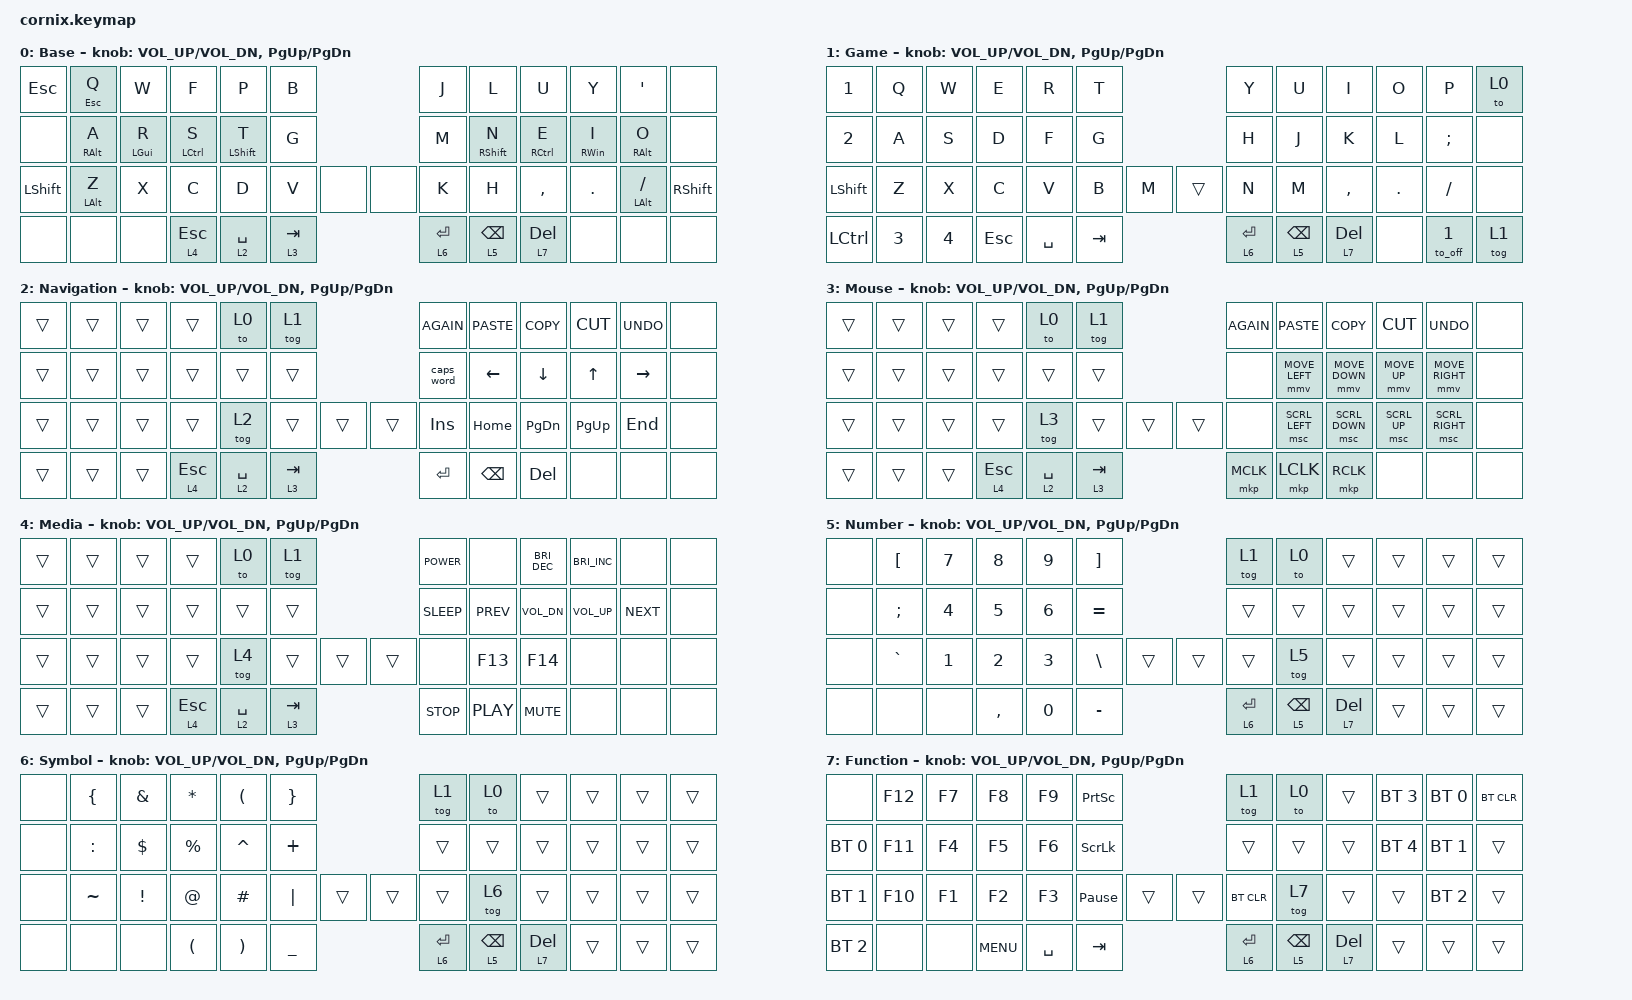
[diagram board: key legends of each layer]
/*
 * Copyright (c) 2020 The ZMK Contributors
 *
 * SPDX-License-Identifier: MIT
 */

#include "zmk-helpers/helper.h"
#include "includes/cornix54.h"

// tap windows for ctl alt and gui

#define HM_TAPPING_TERM 250
#define HM_TAPPING_REPEAT 210

// quick tapping for shift

#define HM_TAPPING_TERM_FAST 200
#define HM_PRIOR_IDLE 70
#define BASE 0
#define WIN 1
#define LOWER 2
#define RAISE 3
#define ADJUST 4
#define NAVI   5
#define NUM    6
#define DEBUG  7

// https://github.com/urob/zmk-config/tree/main#timeless-homerow-mods

#define KEYS_L LT0 LT1 LT2 LT3 LT4 LT5 LM0 LM1 LM2 LM3 LM4 LM5 LB0 LB1 LB2 LB3 LB4 LB5  // left hand
#define KEYS_R RT0 RT1 RT2 RT3 RT4 RT5 RM0 RM1 RM2 RM3 RM4 RM5 RB0 RB1 RB2 RB3 RB4 RB5  // right hand
#define THUMBS LH1 LH0 RH0 RH1
#define KEYS_T LH1 LH0 RH0 RH1
#define ZMK_POINTING_DEFAULT_SCRL_VAL 15

#include <behaviors.dtsi>
#include <dt-bindings/zmk/bt.h>
#include <dt-bindings/zmk/keys.h>
#include <dt-bindings/zmk/pointing.h>

/ {
    // Activate ADJUST layer by pressing raise and lower

    behaviors {
        hm_l: homerow_mods_left {
            compatible = "zmk,behavior-hold-tap";
            #binding-cells = <2>;
            bindings = <&kp>, <&kp>;

            flavor = "balanced";
            tapping-term-ms = <HM_TAPPING_TERM>;
            quick-tap-ms = <200>;                // repeat on tap-into-hold
            require-prior-idle-ms = <HM_PRIOR_IDLE>;
            hold-trigger-key-positions = <KEYS_R KEYS_T>;
            hold-trigger-on-release;
        };

        hm_r: homerow_mods_right {
            compatible = "zmk,behavior-hold-tap";
            #binding-cells = <2>;
            bindings = <&kp>, <&kp>;

            flavor = "balanced";
            tapping-term-ms = <HM_TAPPING_TERM>;
            quick-tap-ms = <200>;
            require-prior-idle-ms = <HM_PRIOR_IDLE>;
            hold-trigger-key-positions = <KEYS_L KEYS_T>;
            hold-trigger-on-release;
        };

        // Positional Homerow mods for shift
        // Use faster tapping term and disable some features that may
        // cause false negatives.

        hm_shift_l: hm_shift_l {
            compatible = "zmk,behavior-hold-tap";
            #binding-cells = <2>;
            bindings = <&kp>, <&kp>;

            //flavor = "balanced";

            flavor = "balanced";
            tapping-term-ms = <HM_TAPPING_TERM_FAST>;
            quick-tap-ms = <200>;
            require-prior-idle-ms = <HM_PRIOR_IDLE>;
            hold-trigger-key-positions = <KEYS_R KEYS_T>;
            hold-trigger-on-release;
        };

        hm_shift_r: hm_shift_r {
            compatible = "zmk,behavior-hold-tap";
            #binding-cells = <2>;
            bindings = <&kp>, <&kp>;

            flavor = "balanced";
            tapping-term-ms = <HM_TAPPING_TERM_FAST>;
            quick-tap-ms = <200>;
            require-prior-idle-ms = <HM_PRIOR_IDLE>;
            hold-trigger-key-positions = <KEYS_L KEYS_T>;

            // for quick tapping; shift+~

            hold-trigger-on-release;
        };

        /*
         * Non-Positional Homerow Mods
         * Used for &mm_grescm_gui behavior on left hand.
         *
         * Usage: &hm LSHFT T
         * Tap: T
         * Tap-Tap-Hold: Repeat T
         * Hold: LSHIFT
         */

        hm: homerow_mods {
            compatible = "zmk,behavior-hold-tap";
            #binding-cells = <2>;
            bindings = <&kp>, <&kp>;

            flavor = "balanced";
            tapping-term-ms = <HM_TAPPING_TERM>;
            quick-tap-ms = <200>;
        };

        lt: layer_tap {
            compatible = "zmk,behavior-hold-tap";
            #binding-cells = <2>;
            bindings = <&mo>, <&kp>;

            flavor = "hold-preferred";
            tapping-term-ms = <HM_TAPPING_TERM>;
            quick-tap-ms = <200>;
        };

        to_off: to_off {
            compatible = "zmk,behavior-toggle-layer";
            label = "TO_OFF";
            #binding-cells = <1>;
            toggle-mode = "off";
        };
    };

    conditional_layers { compatible = "zmk,conditional-layers"; };

    combos {
        compatible = "zmk,combos";

        cb_capsword {
            bindings = <&caps_word>;
            key-positions = <16 19>;
        };
    };

    keymap {
        compatible = "zmk,keymap";

        default_layer {
            display-name = "Base";

            // ------------------------------------------------------------------------------------------------------------
            // |   `   |  1  |  2  |  3   |  4   |  5   |                   |  6   |  7    |  8    |  9   |   0   |       |
            // |  ESC  |  Q  |  W  |  E   |  R   |  T   |                   |  Y   |  U    |  I    |  O   |   P   | BKSPC |
            // |  TAB  |  A  |  S  |  D   |  F   |  G   |                   |  H   |  J    |  K    |  L   |   ;   |   '   |
            // | SHIFT |  Z  |  X  |  C   |  V   |  B   |  MUTE  |  |       |  N   |  M    |  ,    |  .   |   /   | SHIFT |
            //               | GUI | ALT  | CTRL | LOWER|  ENTER |  | SPACE | RAISE| CTRL  | ALT   | GUI  |

            bindings = <
&kp ESC         &hm_l ESC Q        &kp W             &kp F                  &kp P                &kp B                    &kp J        &kp L                      &kp U                  &kp Y              &kp SINGLE_QUOTE      &none
&none           &hm_l RIGHT_ALT A  &hm_l LEFT_GUI R  &hm_l LEFT_CONTROL  S  &hm_shift_l LSHFT T  &kp G                    &kp M        &hm_shift_r RIGHT_SHIFT N  &hm_r RIGHT_CONTROL E  &hm_r RIGHT_WIN I  &hm_r RIGHT_ALT O     &none
&kp LEFT_SHIFT  &hm_l LEFT_ALT Z   &kp X             &kp C                  &kp D                &kp V      &none  &none  &kp K        &kp H                      &kp COMMA              &kp DOT            &hm_r LEFT_ALT SLASH  &kp RIGHT_SHIFT
&none           &none              &none             &lt 4 ESCAPE           &lt 2 SPACE          &lt 3 TAB                &lt 6 ENTER  &lt 5 BACKSPACE            &lt 7 DELETE           &none              &none                 &none
            >;

            sensor-bindings = <&inc_dec_kp C_VOL_UP C_VOL_DN &inc_dec_kp PG_UP PG_DN>;
        };

        game_layer {
            display-name = "Game";

            // ----------------------------------------------------------------------------------------------------------------------------
            // | BTCLR  |  BT1    |  BT2    |   BT3   |   BT4   |   BT5   |                  |      |      |       |      |       |       |
            // | EXTPWR | BTCLR | RGB_HUI | RGB_SAD | RGB_SAI | RGB_EFF |                  |      |      |       |      |       |       |
            // |        | RGB_BRD | RGB_BRI |         |         |         |                  |      |      |       |      |       |       |
            // |        |         |         |         |         |         | RGB_TOG | |      |      |      |       |      |       |       |
            //                    |         |         |         |         |         | |      |      |      |       |      |

            bindings = <
&kp N1            &kp Q   &kp W   &kp E       &kp R      &kp T                   &kp Y        &kp U            &kp I         &kp O       &kp P          &to 0
&kp N2            &kp A   &kp S   &kp D       &kp F      &kp G                   &kp H        &kp J            &kp K         &kp L       &kp SEMICOLON  &none
&kp LEFT_SHIFT    &kp Z   &kp X   &kp C       &kp V      &kp B    &kp M  &trans  &kp N        &kp M            &kp COMMA     &kp PERIOD  &kp SLASH      &none
&kp LEFT_CONTROL  &kp N3  &kp N4  &kp ESCAPE  &kp SPACE  &kp TAB                 &lt 6 ENTER  &lt 5 BACKSPACE  &lt 7 DELETE  &none       &to_off 1      &tog 1
            >;

            sensor-bindings =
                <&inc_dec_kp C_VOL_UP C_VOL_DN>,
                <&inc_dec_kp PG_UP PG_DN>;
        };

        nav_layer {
            display-name = "Navigation";

            // ------------------------------------------------------------------------------------------------------------
            // |   `   |  1  |  2  |  3   |  4   |  5   |                   |  6   |  7    |  8    |  9   |   0   |       |
            // |  ESC  |  Q  |  W  |  E   |  R   |  T   |                   |  Y   |  U    |  I    |  O   |   P   | BKSPC |
            // |  TAB  |  A  |  S  |  D   |  F   |  G   |                   |  H   |  J    |  K    |  L   |   ;   |   '   |
            // | SHIFT |  Z  |  X  |  C   |  V   |  B   |  MUTE  |  |       |  N   |  M    |  ,    |  .   |   /   | SHIFT |
            //               | GUI | ALT  | CTRL | LOWER|  ENTER |  | SPACE | RAISE| CTRL  | ALT   | GUI  |

            bindings = <
&trans  &trans  &trans  &trans     &to 0        &tog 1                     &kp K_AGAIN  &kp K_PASTE     &kp K_COPY  &kp K_CUT     &kp K_UNDO       &none
&trans  &trans  &trans  &trans     &trans       &trans                     &caps_word   &kp LEFT_ARROW  &kp DOWN    &kp UP_ARROW  &kp RIGHT_ARROW  &none
&trans  &trans  &trans  &trans     &tog 2       &trans     &trans  &trans  &kp INSERT   &kp HOME        &kp PG_DN   &kp PG_UP     &kp END          &none
&trans  &trans  &trans  &lt 4 ESC  &lt 2 SPACE  &lt 3 TAB                  &kp ENTER    &kp BACKSPACE   &kp DELETE  &none         &none            &none
            >;

            sensor-bindings = <&inc_dec_kp C_VOL_UP C_VOL_DN &inc_dec_kp PG_UP PG_DN>;
        };

        mouse_layer {
            display-name = "Mouse";

            // TODO: Some binds are waiting for shifted keycode support.
            // -------------------------------
            // |       |  F1 |  F2 |  F3  |  F4  |  F5  |                   |  F6  |  F7   |  F8   |  F9  |  F10  |  F11  |
            // |   `   |  1  |  2  |  3   |  4   |  5   |                   |  6   |  7    |  8    |  9   |   0   |  F12  |
            // |       |  !  |  @  |  #   |  $   |  %   |                   |  ^   |  &    |  *    |  (   |   )   |   |   |
            // |       |  =  |  -  |  +   |  {   |  }   |        |  |       |  [   |  ]    |  ;    |  :   |   \   |       |
            //               |     |      |      |      |        |  |       |      |       |       |      |

            bindings = <
&trans  &trans  &trans  &trans        &to 0        &tog 1                     &kp K_AGAIN  &kp K_PASTE     &kp K_COPY      &kp K_CUT     &kp K_UNDO       &none
&trans  &trans  &trans  &trans        &trans       &trans                     &none        &mmv MOVE_LEFT  &mmv MOVE_DOWN  &mmv MOVE_UP  &mmv MOVE_RIGHT  &none
&trans  &trans  &trans  &trans        &tog 3       &trans     &trans  &trans  &none        &msc SCRL_LEFT  &msc SCRL_DOWN  &msc SCRL_UP  &msc SCRL_RIGHT  &none
&trans  &trans  &trans  &lt 4 ESCAPE  &lt 2 SPACE  &lt 3 TAB                  &mkp MCLK    &mkp LCLK       &mkp RCLK       &none         &none            &none
            >;

            sensor-bindings = <&inc_dec_kp C_VOL_UP C_VOL_DN &inc_dec_kp PG_UP PG_DN>;
        };

        media_layer {
            display-name = "Media";

            // ------------------------------------------------------------------------------------------------------------
            // | BTCLR | BT1  | BT2  |  BT3  |  BT4  |  BT5 |                |      |      |       |      |       |       |
            // |       | INS  | PSCR | GUI   |       |      |                | PGUP |      |   ^   |      |       |       |
            // |       | ALT  | CTRL | SHIFT |       | CAPS |                | PGDN |   <- |   v   |  ->  |  DEL  | BKSPC |
            // |       | UNDO | CUT  | COPY  | PASTE |      |      |  |      |      |      |       |      |       |       |
            //                |      |       |       |      |      |  |      |      |      |       |      |

            bindings = <
&trans  &trans  &trans  &trans        &to 0        &tog 1                     &kp C_POWER  &none       &kp C_BRIGHTNESS_DEC  &kp C_BRIGHTNESS_INC  &none        &none
&trans  &trans  &trans  &trans        &trans       &trans                     &kp C_SLEEP  &kp C_PREV  &kp C_VOL_DN          &kp C_VOL_UP          &kp C_NEXT   &none
&trans  &trans  &trans  &trans        &tog 4       &trans     &trans  &trans  &none        &kp F13     &kp F14               &none                 &none        &none
&trans  &trans  &trans  &lt 4 ESCAPE  &lt 2 SPACE  &lt 3 TAB                  &kp C_STOP   &kp C_PLAY  &kp K_MUTE            &none                 &none        &none
            >;

            sensor-bindings = <&inc_dec_kp C_VOL_UP C_VOL_DN &inc_dec_kp PG_UP PG_DN>;
        };

        num_layer {
            display-name = "Number";

            // ----------------------------------------------------------------------------------------------------------------------------
            // | BTCLR  |  BT1    |  BT2    |   BT3   |   BT4   |   BT5   |                  |      |      |       |      |       |       |
            // | moDEBUG| RGB_HUD | RGB_HUI | RGB_SAD | RGB_SAI | RGB_EFF |                  |      |      |       |      |       |       |
            // | EXTPWR | RGB_BRD | RGB_BRI |         |         |         |                  |      |      |       |      |       |       |
            // |        |         |         |         |         |         | RGB_TOG | |      |      |      |       |      |       |       |
            //                    |         |         |         |         |         | |      |      |      |       |      |

            bindings = <
&none  &kp LEFT_BRACKET  &kp N7  &kp N8     &kp N9  &kp RIGHT_BRACKET                  &tog 1       &to 0            &trans        &trans  &trans  &trans
&none  &kp SEMICOLON     &kp N4  &kp N5     &kp N6  &kp EQUAL                          &trans       &trans           &trans        &trans  &trans  &trans
&none  &kp GRAVE         &kp N1  &kp N2     &kp N3  &kp BACKSLASH      &trans  &trans  &trans       &tog 5           &trans        &trans  &trans  &trans
&none  &none             &none   &kp COMMA  &kp N0  &kp MINUS                          &lt 6 ENTER  &lt 5 BACKSPACE  &lt 7 DELETE  &trans  &trans  &trans
            >;

            sensor-bindings =
                <&inc_dec_kp C_VOL_UP C_VOL_DN>,
                <&inc_dec_kp PG_UP PG_DN>;
        };

        sym_layer {
            display-name = "Symbol";
            bindings = <
&none  &kp LEFT_BRACE  &kp AMPERSAND    &kp ASTERISK          &kp LEFT_PARENTHESIS   &kp RIGHT_BRACE                  &tog 1       &to 0            &trans        &trans  &trans  &trans
&none  &kp COLON       &kp DOLLAR       &kp PERCENT           &kp CARET              &kp PLUS                         &trans       &trans           &trans        &trans  &trans  &trans
&none  &kp TILDE       &kp EXCLAMATION  &kp AT_SIGN           &kp HASH               &kp PIPE         &trans  &trans  &trans       &tog 6           &trans        &trans  &trans  &trans
&none  &none           &none            &kp LEFT_PARENTHESIS  &kp RIGHT_PARENTHESIS  &kp UNDERSCORE                   &lt 6 ENTER  &lt 5 BACKSPACE  &lt 7 DELETE  &trans  &trans  &trans
            >;

            sensor-bindings =
                <&inc_dec_kp C_VOL_UP C_VOL_DN>,
                <&inc_dec_kp PG_UP PG_DN>;
        };

        fun_layer {
            display-name = "Function";
            bindings = <
&none         &kp F12  &kp F7  &kp F8      &kp F9     &kp PRINTSCREEN                  &tog 1       &to 0            &trans        &bt BT_SEL 3  &bt BT_SEL 0  &bt BT_CLR
&bt BT_SEL 0  &kp F11  &kp F4  &kp F5      &kp F6     &kp SCROLLLOCK                   &trans       &trans           &trans        &bt BT_SEL 4  &bt BT_SEL 1  &trans
&bt BT_SEL 1  &kp F10  &kp F1  &kp F2      &kp F3     &kp PAUSE_BREAK  &trans  &trans  &bt BT_CLR   &tog 7           &trans        &trans        &bt BT_SEL 2  &trans
&bt BT_SEL 2  &none    &none   &kp K_MENU  &kp SPACE  &kp TAB                          &lt 6 ENTER  &lt 5 BACKSPACE  &lt 7 DELETE  &trans        &trans        &trans
            >;

            sensor-bindings =
                <&inc_dec_kp C_VOL_UP C_VOL_DN>,
                <&inc_dec_kp PG_UP PG_DN>;
        };
    };
};
